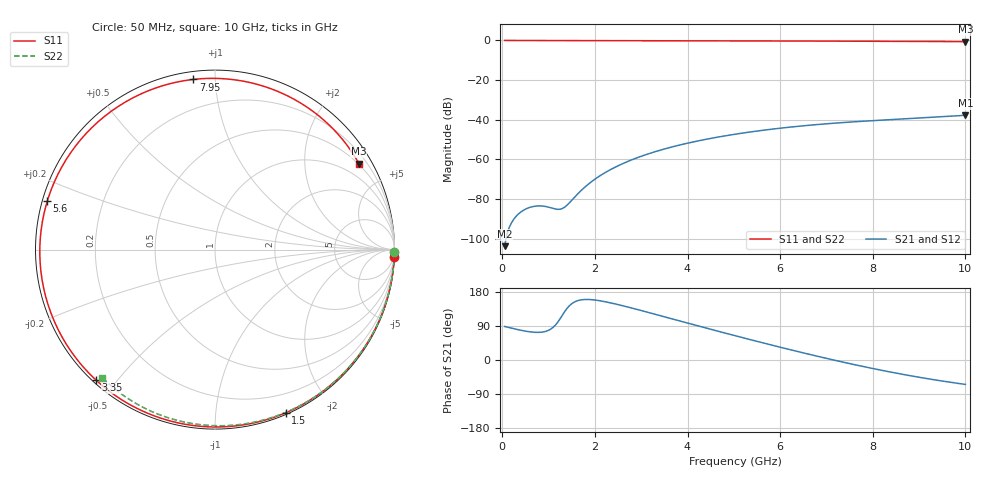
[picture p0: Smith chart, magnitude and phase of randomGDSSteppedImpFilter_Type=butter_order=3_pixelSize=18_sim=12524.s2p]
! freq	dB(S11)	phase(S11)	dB(S12)	phase(S12)
!  dB(S21)	phase(S21)	dB(S22)	phase(S22)
!S-par simulation data
#  GHz  S  DB  R 50
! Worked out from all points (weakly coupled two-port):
!   200 points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, 50 MHz to 10 GHz, reference 50 ohm
!   highest |S21| = -37.70 dB at 10 GHz (marker M1); lowest = -103.7 dB at 50 MHz (marker M2)
!   lowest |S11| = -0.6 dB at 10 GHz (marker M3), VSWR 29.37, Z = 23.7 + j178 ohm
!   |S11| at or under -10 dB: nowhere
!   |S22| runs from -0.4 to 0.0 dB; largest |S21 - S12| = 0
!   S11 on the Smith chart (normalised r, x): 50 MHz: 0, -49; 1.5 GHz: 0.02, -1.52; 3.35 GHz: 0.01, -0.44; 5.6 GHz: 0.01, +0.14; 7.95 GHz: 0.04, +0.88; 10 GHz: 0.47, +3.57
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0.05  -0.00 -2.4  -103.73 88.5  -103.73 88.5  -0.00 -0.8
0.35  -0.02 -16.3  -87.46 79.7  -87.46 79.7  -0.01 -5.3
0.7  -0.04 -32.2  -83.59 73.1  -83.59 73.1  -0.01 -10.6
1.1  -0.06 -49.8  -84.70 86.5  -84.70 86.5  -0.02 -16.6
1.5  -0.08 -66.6  -80.58 148.6  -80.58 148.6  -0.03 -22.5
1.75  -0.09 -76.6  -74.62 159.5  -74.62 159.5  -0.03 -26.2
2.05  -0.10 -88.2  -69.14 157.4  -69.14 157.4  -0.04 -30.6
2.4  -0.11 -100.9  -64.35 149.1  -64.35 149.1  -0.05 -35.7
2.85  -0.13 -116.3  -59.69 135.4  -59.69 135.4  -0.05 -42.1
3.35  -0.14 -132.3  -55.74 119.0  -55.74 119.0  -0.07 -49.2
3.4  -0.14 -133.9  -55.40 117.4  -55.40 117.4  -0.07 -49.9
4.2  -0.17 -157.5  -50.78 90.9  -50.78 90.9  -0.09 -60.9
5.05  -0.21 178.9  -47.19 63.4  -47.19 63.4  -0.11 -72.2
5.6  -0.24 163.9  -45.37 46.1  -45.37 46.1  -0.13 -79.3
6.15  -0.27 148.9  -43.86 29.2  -43.86 29.2  -0.15 -86.2
6.7  -0.31 133.7  -42.61 12.9  -42.61 12.9  -0.18 -93.0
7.35  -0.35 115.2  -41.41 -5.4  -41.41 -5.4  -0.22 -100.8
7.95  -0.39 97.3  -40.50 -21.2  -40.50 -21.2  -0.26 -107.9
8.35  -0.42 85.0  -39.97 -31.0  -39.97 -31.0  -0.29 -112.5
8.75  -0.45 72.3  -39.47 -40.2  -39.47 -40.2  -0.32 -117.1
9.15  -0.49 59.2  -38.96 -48.7  -38.96 -48.7  -0.36 -121.7
10  -0.59 30.8  -37.70 -64.4  -37.70 -64.4  -0.44 -131.3
